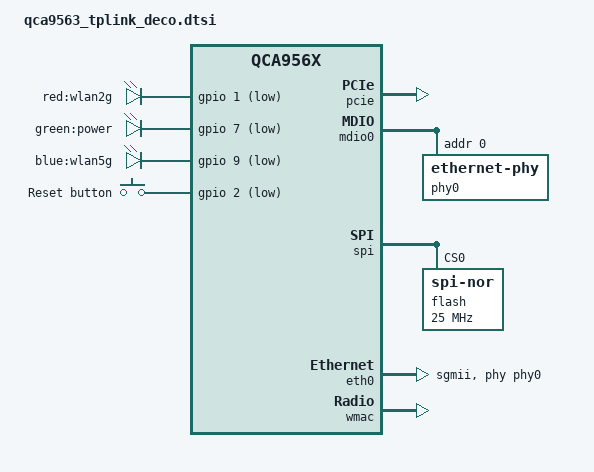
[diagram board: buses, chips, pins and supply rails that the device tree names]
// SPDX-License-Identifier: GPL-2.0-or-later OR MIT

#include <dt-bindings/gpio/gpio.h>
#include <dt-bindings/input/input.h>

#include "qca956x.dtsi"

/ {
	aliases {
		led-boot = &led_power;
		led-failsafe = &led_power;
		led-running = &led_power;
		led-upgrade = &led_power;
	};

	leds {
		compatible = "gpio-leds";

		wlan2g {
			label = "red:wlan2g";
			gpios = <&gpio 1 GPIO_ACTIVE_LOW>;
			linux,default-trigger = "phy1tpt";
		};
		
		led_power: power {
			label = "green:power";
			gpios = <&gpio 7 GPIO_ACTIVE_LOW>;
			default-state = "on";
		};

		wlan5g {
			label = "blue:wlan5g";
			gpios = <&gpio 9 GPIO_ACTIVE_LOW>;
			linux,default-trigger = "phy0tpt";
		};
	};


	keys {
		compatible = "gpio-keys";
		
		reset {
			label = "Reset button";
			linux,code = <KEY_RESTART>;
			gpios = <&gpio 2 GPIO_ACTIVE_LOW>;
			debounce-interval = <60>;
		};
	};
};

&pcie {
	status = "okay";
};

&mdio0 {
	status = "okay";

	phy0: ethernet-phy@0 {
		reg = <0>;
		phy-mode = "sgmii";
		qca,mib-poll-interval = <500>;

		qca,ar8327-initvals = <
			0x04 0x00080080 /* PORT0 PAD MODE CTRL */
			0x7c 0x0000007e /* PORT0_STATUS */
			>;
	};
};

&spi {
	status = "okay";
	num-cs = <1>;

	flash@0 {
		compatible = "jedec,spi-nor";
		reg = <0>;
		spi-max-frequency = <25000000>;

		partitions: partitions {
			compatible = "fixed-partitions";
			#address-cells = <1>;
			#size-cells = <1>;
		};
	};
};

&eth0 {
	status = "okay";

	phy-mode = "sgmii";
	phy-handle = <&phy0>;
};

&wmac {
	status = "okay";
};
